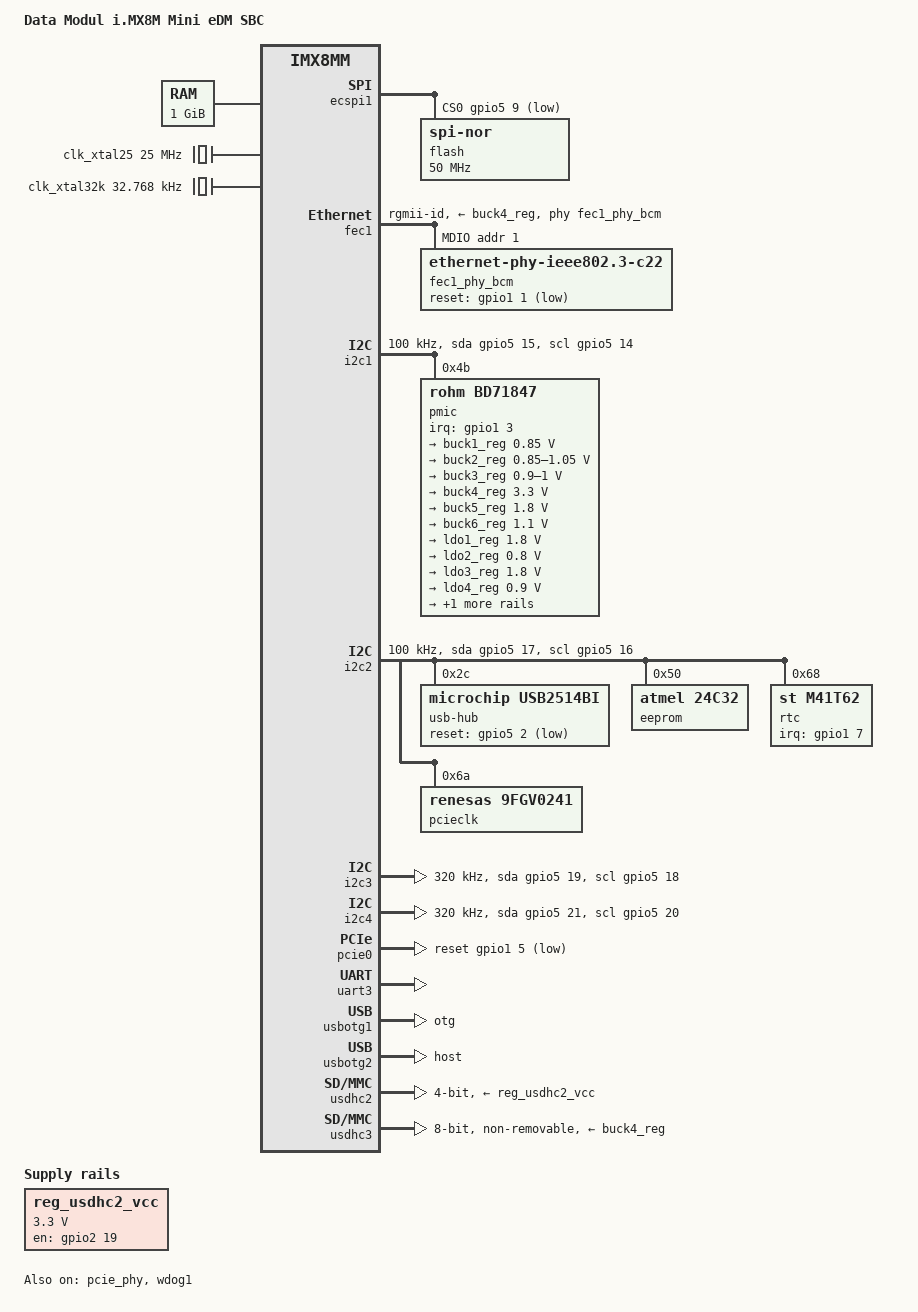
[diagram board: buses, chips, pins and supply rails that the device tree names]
// SPDX-License-Identifier: (GPL-2.0+ OR MIT)
/*
 * Copyright 2022 Marek Vasut <marex@denx.de>
 */

/dts-v1/;

#include <dt-bindings/net/qca-ar803x.h>
#include <dt-bindings/phy/phy-imx8-pcie.h>
#include "imx8mm.dtsi"

/ {
	model = "Data Modul i.MX8M Mini eDM SBC";
	compatible = "dmo,imx8mm-data-modul-edm-sbc", "fsl,imx8mm";

	aliases {
		rtc0 = &rtc;
		rtc1 = &snvs_rtc;
	};

	chosen {
		stdout-path = &uart3;
	};

	memory@40000000 {
		device_type = "memory";
		/* There are 1/2/4 GiB options, adjusted by bootloader. */
		reg = <0x0 0x40000000 0 0x40000000>;
	};

	backlight: backlight {
		compatible = "pwm-backlight";
		pinctrl-names = "default";
		pinctrl-0 = <&pinctrl_panel_backlight>;
		brightness-levels = <0 1 10 20 30 40 50 60 70 75 80 90 100>;
		default-brightness-level = <7>;
		enable-gpios = <&gpio3 0 GPIO_ACTIVE_HIGH>;
		pwms = <&pwm1 0 5000000 0>;
		/* Disabled by default, unless display board plugged in. */
		status = "disabled";
	};

	clk_xtal25: clk-xtal25 {
		compatible = "fixed-clock";
		#clock-cells = <0>;
		clock-frequency = <25000000>;
	};

	clk_xtal32k: clk-xtal32k {
		compatible = "fixed-clock";
		#clock-cells = <0>;
		clock-frequency = <32768>;
	};

	panel: panel {
		backlight = <&backlight>;
		power-supply = <&reg_panel_vcc>;
		/* Disabled by default, unless display board plugged in. */
		status = "disabled";
	};

	reg_panel_vcc: regulator-panel-vcc {
		compatible = "regulator-fixed";
		pinctrl-names = "default";
		pinctrl-0 = <&pinctrl_panel_vcc_reg>;
		regulator-name = "PANEL_VCC";
		regulator-min-microvolt = <5000000>;
		regulator-max-microvolt = <5000000>;
		gpio = <&gpio3 6 0>;
		enable-active-high;
		/* Disabled by default, unless display board plugged in. */
		status = "disabled";
	};

	reg_usdhc2_vcc: regulator-usdhc2-vcc {
		compatible = "regulator-fixed";
		pinctrl-names = "default";
		pinctrl-0 = <&pinctrl_usdhc2_vcc_reg>;
		regulator-name = "V_3V3_SD";
		regulator-min-microvolt = <3300000>;
		regulator-max-microvolt = <3300000>;
		gpio = <&gpio2 19 0>;
		enable-active-high;
	};

	watchdog {
		/* TPS3813 */
		pinctrl-names = "default";
		pinctrl-0 = <&pinctrl_watchdog_gpio>;
		compatible = "linux,wdt-gpio";
		always-running;
		gpios = <&gpio1 8 GPIO_ACTIVE_HIGH>;
		hw_algo = "level";
		/* Reset triggers in 2..3 seconds */
		hw_margin_ms = <1500>;
		/* Disabled by default */
		status = "disabled";
	};
};

&A53_0 {
	cpu-supply = <&buck2_reg>;
};

&A53_1 {
	cpu-supply = <&buck2_reg>;
};

&A53_2 {
	cpu-supply = <&buck2_reg>;
};

&A53_3 {
	cpu-supply = <&buck2_reg>;
};

&ddrc {
	operating-points-v2 = <&ddrc_opp_table>;

	ddrc_opp_table: opp-table {
		compatible = "operating-points-v2";

		opp-25000000 {
			opp-hz = /bits/ 64 <25000000>;
		};

		opp-100000000 {
			opp-hz = /bits/ 64 <100000000>;
		};

		opp-750000000 {
			opp-hz = /bits/ 64 <750000000>;
		};
	};
};

&ecspi1 {
	pinctrl-names = "default";
	pinctrl-0 = <&pinctrl_ecspi1>;
	cs-gpios = <&gpio5 9 GPIO_ACTIVE_LOW>;
	status = "okay";

	flash@0 {	/* W25Q128FVSI */
		compatible = "jedec,spi-nor";
		m25p,fast-read;
		spi-max-frequency = <50000000>;
		reg = <0>;
	};
};

&ecspi2 {	/* Feature connector SPI */
	pinctrl-names = "default";
	pinctrl-0 = <&pinctrl_ecspi2>;
	cs-gpios = <&gpio5 13 GPIO_ACTIVE_LOW>;
	/* Disabled by default, unless feature board plugged in. */
	status = "disabled";
};

&ecspi3 {	/* Display connector SPI */
	pinctrl-names = "default";
	pinctrl-0 = <&pinctrl_ecspi3>;
	cs-gpios = <&gpio5 25 GPIO_ACTIVE_LOW>;
	/* Disabled by default, unless display board plugged in. */
	status = "disabled";
};

&fec1 {
	pinctrl-names = "default";
	pinctrl-0 = <&pinctrl_fec1>;
	phy-mode = "rgmii-id";
	phy-handle = <&fec1_phy_bcm>;
	phy-supply = <&buck4_reg>;
	fsl,magic-packet;
	status = "okay";

	mdio {
		#address-cells = <1>;
		#size-cells = <0>;

		/* Atheros AR8031 PHY */
		fec1_phy_ath: ethernet-phy@0 {
			compatible = "ethernet-phy-ieee802.3-c22";
			reg = <0>;
			/*
			 * Dedicated ENET_WOL# signal is unused, the PHY
			 * can wake the SoC up via INT signal as well.
			 */
			interrupts-extended = <&gpio1 15 IRQ_TYPE_LEVEL_LOW>;
			reset-gpios = <&gpio1 1 GPIO_ACTIVE_LOW>;
			reset-assert-us = <10000>;
			reset-deassert-us = <10000>;
			qca,keep-pll-enabled;
			vddio-supply = <&vddio>;
			status = "disabled";

			vddio: vddio-regulator {
				regulator-name = "VDDIO";
				regulator-min-microvolt = <1800000>;
				regulator-max-microvolt = <1800000>;
			};

			vddh: vddh-regulator {
				regulator-name = "VDDH";
			};
		};

		/* Broadcom BCM54213PE PHY */
		fec1_phy_bcm: ethernet-phy@1 {
			compatible = "ethernet-phy-ieee802.3-c22";
			reg = <1>;
			/*
			 * Dedicated ENET_INT# and ENET_WOL# signals are
			 * unused, the PHY does not provide cable detect
			 * interrupt.
			 */
			reset-gpios = <&gpio1 1 GPIO_ACTIVE_LOW>;
			reset-assert-us = <10000>;
			reset-deassert-us = <10000>;
		};
	};
};

&gpio1 {
	gpio-line-names =
		"", "ENET_RST#", "WDOG_B#", "PMIC_INT#",
		"", "M2-B_PCIE_RST#", "M2-B_PCIE_WAKE#", "RTC_IRQ#",
		"WDOG_KICK#", "M2-B_PCIE_CLKREQ#",
		"USB1_OTG_ID_3V3", "ENET_WOL#",
		"", "", "", "ENET_INT#",
		"", "", "", "", "", "", "", "",
		"", "", "", "", "", "", "", "";
};

&gpio2 {
	gpio-line-names =
		"MEMCFG2", "MEMCFG1", "DSI_RESET_1V8#", "DSI_IRQ_1V8#",
		"M2-B_FULL_CARD_PWROFF_1V8#", "EEPROM_WP_1V8#",
		"PCIE_CLK_GEN_CLKPWRGD_PD_1V8#", "GRAPHICS_PRSNT_1V8#",
		"MEMCFG0", "WDOG_EN",
		"M2-B_W_DISABLE1_WWAN_1V8#", "M2-B_W_DISABLE2_GPS_1V8#",
		"", "", "", "",
		"", "", "", "SD2_RESET#", "", "", "", "",
		"", "", "", "", "", "", "", "";
};

&gpio3 {
	gpio-line-names =
		"BL_ENABLE_1V8", "PG_V_IN_VAR#", "", "",
		"", "", "TFT_ENABLE_1V8", "GRAPHICS_GPIO0_1V8",
		"CSI_PD_1V8", "CSI_RESET_1V8#", "", "",
		"", "", "", "",
		"", "", "", "M2-B_WAKE_WWAN_1V8#",
		"M2-B_RESET_1V8#", "", "", "",
		"", "", "", "", "", "", "", "";
};

&gpio4 {
	gpio-line-names =
		"NC0", "NC1", "BOOTCFG0", "BOOTCFG1",
		"BOOTCFG2", "BOOTCFG3", "BOOTCFG4", "BOOTCFG5",
		"BOOTCFG6", "BOOTCFG7", "NC10", "NC11",
		"BOOTCFG8", "BOOTCFG9", "BOOTCFG10", "BOOTCFG11",
		"BOOTCFG12", "BOOTCFG13", "BOOTCFG14", "BOOTCFG15",
		"NC20", "", "", "",
		"", "CAN_INT#", "CAN_RST#", "GPIO4_IO27",
		"DIS_USB_DN2", "", "", "";
};

&gpio5 {
	gpio-line-names =
		"", "DIS_USB_DN1", "USBHUB_RESET#", "GPIO5_IO03",
		"GPIO5_IO04", "", "", "",
		"", "SPI1_CS#", "", "",
		"", "SPI2_CS#", "I2C1_SCL_3V3", "I2C1_SDA_3V3",
		"I2C2_SCL_3V3", "I2C2_SDA_3V3", "I2C3_SCL_3V3", "I2C3_SDA_3V3",
		"I2C4_SCL_3V3", "I2C4_SDA_3V3", "", "",
		"", "SPI3_CS#", "", "", "", "", "", "";
};

&i2c1 {
	/* IMX8MM ERRATA e7805 -- I2C is limited to 384 kHz due to SoC bug */
	clock-frequency = <100000>;
	pinctrl-names = "default", "gpio";
	pinctrl-0 = <&pinctrl_i2c1>;
	pinctrl-1 = <&pinctrl_i2c1_gpio>;
	scl-gpios = <&gpio5 14 (GPIO_ACTIVE_HIGH | GPIO_OPEN_DRAIN)>;
	sda-gpios = <&gpio5 15 (GPIO_ACTIVE_HIGH | GPIO_OPEN_DRAIN)>;
	status = "okay";

	pmic: pmic@4b {
		compatible = "rohm,bd71847";
		reg = <0x4b>;
		#clock-cells = <0>;
		clocks = <&clk_xtal32k>;
		clock-output-names = "clk-32k-out";
		pinctrl-names = "default";
		pinctrl-0 = <&pinctrl_pmic>;
		interrupt-parent = <&gpio1>;
		interrupts = <3 IRQ_TYPE_EDGE_FALLING>;
		rohm,reset-snvs-powered;

		/*
		 * i.MX 8M Mini Data Sheet for Consumer Products
		 * 3.1.3 Operating ranges
		 * MIMX8MM4DVTLZAA
		 */
		regulators {
			/* VDD_SOC */
			buck1_reg: BUCK1 {
				regulator-name = "buck1";
				regulator-min-microvolt = <850000>;
				regulator-max-microvolt = <850000>;
				regulator-boot-on;
				regulator-always-on;
				regulator-ramp-delay = <1250>;
			};

			/* VDD_ARM */
			buck2_reg: BUCK2 {
				regulator-name = "buck2";
				regulator-min-microvolt = <850000>;
				regulator-max-microvolt = <1050000>;
				regulator-boot-on;
				regulator-always-on;
				regulator-ramp-delay = <1250>;
				rohm,dvs-run-voltage = <1000000>;
				rohm,dvs-idle-voltage = <950000>;
			};

			/* VDD_DRAM, BUCK5 */
			buck3_reg: BUCK3 {
				regulator-name = "buck3";
				/* 1.5 GHz DDR bus clock */
				regulator-min-microvolt = <900000>;
				regulator-max-microvolt = <1000000>;
				regulator-boot-on;
				regulator-always-on;
			};

			/* 3V3_VDD, BUCK6 */
			buck4_reg: BUCK4 {
				regulator-name = "buck4";
				regulator-min-microvolt = <3300000>;
				regulator-max-microvolt = <3300000>;
				regulator-boot-on;
				regulator-always-on;
			};

			/* 1V8_VDD, BUCK7 */
			buck5_reg: BUCK5 {
				regulator-name = "buck5";
				regulator-min-microvolt = <1800000>;
				regulator-max-microvolt = <1800000>;
				regulator-boot-on;
				regulator-always-on;
			};

			/* 1V1_NVCC_DRAM, BUCK8 */
			buck6_reg: BUCK6 {
				regulator-name = "buck6";
				regulator-min-microvolt = <1100000>;
				regulator-max-microvolt = <1100000>;
				regulator-boot-on;
				regulator-always-on;
			};

			/* 1V8_NVCC_SNVS */
			ldo1_reg: LDO1 {
				regulator-name = "ldo1";
				regulator-min-microvolt = <1800000>;
				regulator-max-microvolt = <1800000>;
				regulator-boot-on;
				regulator-always-on;
			};

			/* 0V8_VDD_SNVS */
			ldo2_reg: LDO2 {
				regulator-name = "ldo2";
				regulator-min-microvolt = <800000>;
				regulator-max-microvolt = <800000>;
				regulator-boot-on;
				regulator-always-on;
			};

			/* 1V8_VDDA */
			ldo3_reg: LDO3 {
				regulator-name = "ldo3";
				regulator-min-microvolt = <1800000>;
				regulator-max-microvolt = <1800000>;
				regulator-boot-on;
				regulator-always-on;
			};

			/* 0V9_VDD_PHY */
			ldo4_reg: LDO4 {
				regulator-name = "ldo4";
				regulator-min-microvolt = <900000>;
				regulator-max-microvolt = <900000>;
				regulator-boot-on;
				regulator-always-on;
			};

			/* 1V2_VDD_PHY */
			ldo6_reg: LDO6 {
				regulator-name = "ldo6";
				regulator-min-microvolt = <1200000>;
				regulator-max-microvolt = <1200000>;
				regulator-boot-on;
				regulator-always-on;
			};
		};
	};
};

&i2c2 {
	/* IMX8MM ERRATA e7805 -- I2C is limited to 384 kHz due to SoC bug */
	clock-frequency = <100000>;
	pinctrl-names = "default", "gpio";
	pinctrl-0 = <&pinctrl_i2c2>;
	pinctrl-1 = <&pinctrl_i2c2_gpio>;
	scl-gpios = <&gpio5 16 (GPIO_ACTIVE_HIGH | GPIO_OPEN_DRAIN)>;
	sda-gpios = <&gpio5 17 (GPIO_ACTIVE_HIGH | GPIO_OPEN_DRAIN)>;
	status = "okay";

	usb-hub@2c {
		pinctrl-names = "default";
		pinctrl-0 = <&pinctrl_usb_hub>;
		compatible = "microchip,usb2514bi";
		reg = <0x2c>;
		individual-port-switching;
		reset-gpios = <&gpio5 2 GPIO_ACTIVE_LOW>;
		self-powered;
	};

	eeprom: eeprom@50 {
		compatible = "atmel,24c32";
		reg = <0x50>;
		pagesize = <32>;
	};

	rtc: rtc@68 {
		pinctrl-names = "default";
		pinctrl-0 = <&pinctrl_rtc>;
		compatible = "st,m41t62";
		reg = <0x68>;
		interrupts-extended = <&gpio1 7 IRQ_TYPE_LEVEL_LOW>;
	};

	pcieclk: clk@6a {
		compatible = "renesas,9fgv0241";
		reg = <0x6a>;
		clocks = <&clk_xtal25>;
		#clock-cells = <1>;
	};
};

&i2c3 {	/* Display connector I2C */
	/* IMX8MM ERRATA e7805 -- I2C is limited to 384 kHz due to SoC bug */
	clock-frequency = <320000>;
	pinctrl-names = "default", "gpio";
	pinctrl-0 = <&pinctrl_i2c3>;
	pinctrl-1 = <&pinctrl_i2c3_gpio>;
	scl-gpios = <&gpio5 18 (GPIO_ACTIVE_HIGH | GPIO_OPEN_DRAIN)>;
	sda-gpios = <&gpio5 19 (GPIO_ACTIVE_HIGH | GPIO_OPEN_DRAIN)>;
	status = "okay";
};

&i2c4 {	/* Feature connector I2C */
	/* IMX8MM ERRATA e7805 -- I2C is limited to 384 kHz due to SoC bug */
	clock-frequency = <320000>;
	pinctrl-names = "default", "gpio";
	pinctrl-0 = <&pinctrl_i2c4>;
	pinctrl-1 = <&pinctrl_i2c4_gpio>;
	scl-gpios = <&gpio5 20 (GPIO_ACTIVE_HIGH | GPIO_OPEN_DRAIN)>;
	sda-gpios = <&gpio5 21 (GPIO_ACTIVE_HIGH | GPIO_OPEN_DRAIN)>;
	status = "okay";
};

&iomuxc {
	pinctrl-names = "default";
	pinctrl-0 = <&pinctrl_hog_feature>, <&pinctrl_hog_misc>,
		    <&pinctrl_hog_panel>, <&pinctrl_hog_sbc>,
		    <&pinctrl_panel_expansion>;

	pinctrl_ecspi1: ecspi1-grp {
		fsl,pins = <
			MX8MM_IOMUXC_ECSPI1_SCLK_ECSPI1_SCLK		0x44
			MX8MM_IOMUXC_ECSPI1_MOSI_ECSPI1_MOSI		0x44
			MX8MM_IOMUXC_ECSPI1_MISO_ECSPI1_MISO		0x44
			MX8MM_IOMUXC_ECSPI1_SS0_GPIO5_IO9		0x40
		>;
	};

	pinctrl_ecspi2: ecspi2-grp {
		fsl,pins = <
			MX8MM_IOMUXC_ECSPI2_SCLK_ECSPI2_SCLK		0x44
			MX8MM_IOMUXC_ECSPI2_MOSI_ECSPI2_MOSI		0x44
			MX8MM_IOMUXC_ECSPI2_MISO_ECSPI2_MISO		0x44
			MX8MM_IOMUXC_ECSPI2_SS0_GPIO5_IO13		0x40
		>;
	};

	pinctrl_ecspi3: ecspi3-grp {
		fsl,pins = <
			MX8MM_IOMUXC_UART1_RXD_ECSPI3_SCLK		0x44
			MX8MM_IOMUXC_UART1_TXD_ECSPI3_MOSI		0x44
			MX8MM_IOMUXC_UART2_RXD_ECSPI3_MISO		0x44
			MX8MM_IOMUXC_UART2_TXD_GPIO5_IO25		0x40
		>;
	};

	pinctrl_fec1: fec1-grp {
		fsl,pins = <
			MX8MM_IOMUXC_ENET_MDC_ENET1_MDC			0x3
			MX8MM_IOMUXC_ENET_MDIO_ENET1_MDIO		0x3
			MX8MM_IOMUXC_ENET_RD0_ENET1_RGMII_RD0		0x91
			MX8MM_IOMUXC_ENET_RD1_ENET1_RGMII_RD1		0x91
			MX8MM_IOMUXC_ENET_RD2_ENET1_RGMII_RD2		0x91
			MX8MM_IOMUXC_ENET_RD3_ENET1_RGMII_RD3		0x91
			MX8MM_IOMUXC_ENET_RXC_ENET1_RGMII_RXC		0x91
			MX8MM_IOMUXC_ENET_RX_CTL_ENET1_RGMII_RX_CTL	0x91
			MX8MM_IOMUXC_ENET_TD0_ENET1_RGMII_TD0		0x1f
			MX8MM_IOMUXC_ENET_TD1_ENET1_RGMII_TD1		0x1f
			MX8MM_IOMUXC_ENET_TD2_ENET1_RGMII_TD2		0x1f
			MX8MM_IOMUXC_ENET_TD3_ENET1_RGMII_TD3		0x1f
			MX8MM_IOMUXC_ENET_TXC_ENET1_RGMII_TXC		0x1f
			MX8MM_IOMUXC_ENET_TX_CTL_ENET1_RGMII_TX_CTL	0x1f
			/* ENET_RST# */
			MX8MM_IOMUXC_GPIO1_IO01_GPIO1_IO1		0x6
			/* ENET_WOL# */
			MX8MM_IOMUXC_GPIO1_IO11_GPIO1_IO11		0x40000090
			/* ENET_INT# */
			MX8MM_IOMUXC_GPIO1_IO15_GPIO1_IO15		0x40000090
		>;
	};

	pinctrl_hog_feature: hog-feature-grp {
		fsl,pins = <
			/* GPIO4_IO27 */
			MX8MM_IOMUXC_SAI2_MCLK_GPIO4_IO27		0x40000006
			/* GPIO5_IO03 */
			MX8MM_IOMUXC_SPDIF_TX_GPIO5_IO3			0x40000006
			/* GPIO5_IO04 */
			MX8MM_IOMUXC_SPDIF_RX_GPIO5_IO4			0x40000006

			/* CAN_INT# */
			MX8MM_IOMUXC_SAI2_TXC_GPIO4_IO25		0x40000090
			/* CAN_RST# */
			MX8MM_IOMUXC_SAI2_TXD0_GPIO4_IO26		0x26
		>;
	};

	pinctrl_hog_panel: hog-panel-grp {
		fsl,pins = <
			/* GRAPHICS_GPIO0_1V8 */
			MX8MM_IOMUXC_NAND_DATA01_GPIO3_IO7		0x26
		>;
	};

	pinctrl_hog_misc: hog-misc-grp {
		fsl,pins = <
			/* PG_V_IN_VAR# */
			MX8MM_IOMUXC_NAND_CE0_B_GPIO3_IO1		0x40000000
			/* CSI_PD_1V8 */
			MX8MM_IOMUXC_NAND_DATA02_GPIO3_IO8		0x0
			/* CSI_RESET_1V8# */
			MX8MM_IOMUXC_NAND_DATA03_GPIO3_IO9		0x0

			/* DIS_USB_DN1 */
			MX8MM_IOMUXC_SAI3_TXD_GPIO5_IO1			0x0
			/* DIS_USB_DN2 */
			MX8MM_IOMUXC_SAI3_RXFS_GPIO4_IO28		0x0

			/* EEPROM_WP_1V8# */
			MX8MM_IOMUXC_SD1_DATA3_GPIO2_IO5		0x100
			/* PCIE_CLK_GEN_CLKPWRGD_PD_1V8# */
			MX8MM_IOMUXC_SD1_DATA4_GPIO2_IO6		0x0
			/* GRAPHICS_PRSNT_1V8# */
			MX8MM_IOMUXC_SD1_DATA5_GPIO2_IO7		0x40000000

			/* CLK_CCM_CLKO1_3V3 */
			MX8MM_IOMUXC_GPIO1_IO14_CCMSRCGPCMIX_CLKO1	0x10
		>;
	};

	pinctrl_hog_sbc: hog-sbc-grp {
		fsl,pins = <
			/* MEMCFG[0..2] straps */
			MX8MM_IOMUXC_SD1_DATA6_GPIO2_IO8		0x40000140
			MX8MM_IOMUXC_SD1_CMD_GPIO2_IO1			0x40000140
			MX8MM_IOMUXC_SD1_CLK_GPIO2_IO0			0x40000140

			/* BOOT_CFG[0..15] straps */
			MX8MM_IOMUXC_SAI1_RXD0_GPIO4_IO2		0x40000000
			MX8MM_IOMUXC_SAI1_RXD1_GPIO4_IO3		0x40000000
			MX8MM_IOMUXC_SAI1_RXD2_GPIO4_IO4		0x40000000
			MX8MM_IOMUXC_SAI1_RXD3_GPIO4_IO5		0x40000000
			MX8MM_IOMUXC_SAI1_RXD4_GPIO4_IO6		0x40000000
			MX8MM_IOMUXC_SAI1_RXD5_GPIO4_IO7		0x40000000
			MX8MM_IOMUXC_SAI1_RXD6_GPIO4_IO8		0x40000000
			MX8MM_IOMUXC_SAI1_RXD7_GPIO4_IO9		0x40000000
			MX8MM_IOMUXC_SAI1_TXD0_GPIO4_IO12		0x40000000
			MX8MM_IOMUXC_SAI1_TXD1_GPIO4_IO13		0x40000000
			MX8MM_IOMUXC_SAI1_TXD2_GPIO4_IO14		0x40000000
			MX8MM_IOMUXC_SAI1_TXD3_GPIO4_IO15		0x40000000
			MX8MM_IOMUXC_SAI1_TXD4_GPIO4_IO16		0x40000000
			MX8MM_IOMUXC_SAI1_TXD5_GPIO4_IO17		0x40000000
			MX8MM_IOMUXC_SAI1_TXD6_GPIO4_IO18		0x40000000
			MX8MM_IOMUXC_SAI1_TXD7_GPIO4_IO19		0x40000000

			/* Not connected pins */
			MX8MM_IOMUXC_SAI1_MCLK_GPIO4_IO20		0x0
			MX8MM_IOMUXC_SAI1_TXFS_GPIO4_IO10		0x0
			MX8MM_IOMUXC_SAI1_TXC_GPIO4_IO11		0x0
			MX8MM_IOMUXC_SAI1_RXFS_GPIO4_IO0		0x0
			MX8MM_IOMUXC_SAI1_RXC_GPIO4_IO1			0x0
		>;
	};

	pinctrl_i2c1: i2c1-grp {
		fsl,pins = <
			MX8MM_IOMUXC_I2C1_SCL_I2C1_SCL			0x40000084
			MX8MM_IOMUXC_I2C1_SDA_I2C1_SDA			0x40000084
		>;
	};

	pinctrl_i2c1_gpio: i2c1-gpio-grp {
		fsl,pins = <
			MX8MM_IOMUXC_I2C1_SCL_GPIO5_IO14		0x84
			MX8MM_IOMUXC_I2C1_SDA_GPIO5_IO15		0x84
		>;
	};

	pinctrl_i2c2: i2c2-grp {
		fsl,pins = <
			MX8MM_IOMUXC_I2C2_SCL_I2C2_SCL			0x40000084
			MX8MM_IOMUXC_I2C2_SDA_I2C2_SDA			0x40000084
		>;
	};

	pinctrl_i2c2_gpio: i2c2-gpio-grp {
		fsl,pins = <
			MX8MM_IOMUXC_I2C2_SCL_GPIO5_IO16		0x84
			MX8MM_IOMUXC_I2C2_SDA_GPIO5_IO17		0x84
		>;
	};

	pinctrl_i2c3: i2c3-grp {
		fsl,pins = <
			MX8MM_IOMUXC_I2C3_SCL_I2C3_SCL			0x40000084
			MX8MM_IOMUXC_I2C3_SDA_I2C3_SDA			0x40000084
		>;
	};

	pinctrl_i2c3_gpio: i2c3-gpio-grp {
		fsl,pins = <
			MX8MM_IOMUXC_I2C3_SCL_GPIO5_IO18		0x84
			MX8MM_IOMUXC_I2C3_SDA_GPIO5_IO19		0x84
		>;
	};

	pinctrl_i2c4: i2c4-grp {
		fsl,pins = <
			MX8MM_IOMUXC_I2C4_SCL_I2C4_SCL			0x40000084
			MX8MM_IOMUXC_I2C4_SDA_I2C4_SDA			0x40000084
		>;
	};

	pinctrl_i2c4_gpio: i2c4-gpio-grp {
		fsl,pins = <
			MX8MM_IOMUXC_I2C4_SCL_GPIO5_IO20		0x84
			MX8MM_IOMUXC_I2C4_SDA_GPIO5_IO21		0x84
		>;
	};

	pinctrl_panel_backlight: panel-backlight-grp {
		fsl,pins = <
			/* BL_ENABLE_1V8 */
			MX8MM_IOMUXC_NAND_ALE_GPIO3_IO0			0x104
		>;
	};

	pinctrl_panel_expansion: panel-expansion-grp {
		fsl,pins = <
			/* DSI_RESET_1V8# */
			MX8MM_IOMUXC_SD1_DATA0_GPIO2_IO2		0x2
			/* DSI_IRQ_1V8# */
			MX8MM_IOMUXC_SD1_DATA1_GPIO2_IO3		0x40000090
		>;
	};

	pinctrl_panel_vcc_reg: panel-vcc-grp {
		fsl,pins = <
			/* TFT_ENABLE_1V8 */
			MX8MM_IOMUXC_NAND_DATA00_GPIO3_IO6		0x104
		>;
	};

	pinctrl_panel_pwm: panel-pwm-grp {
		fsl,pins = <
			/* BL_PWM_3V3 */
			MX8MM_IOMUXC_SPDIF_EXT_CLK_PWM1_OUT		0x12
		>;
	};

	pinctrl_pcie0: pcie-grp {
		fsl,pins = <
			/* M2-B_RESET_1V8# */
			MX8MM_IOMUXC_SAI5_RXC_GPIO3_IO20		0x102
			/* M2-B_PCIE_RST# */
			MX8MM_IOMUXC_GPIO1_IO05_GPIO1_IO5		0x2
			/* M2-B_FULL_CARD_PWROFF_1V8# */
			MX8MM_IOMUXC_SD1_DATA2_GPIO2_IO4		0x102
			/* M2-B_W_DISABLE1_WWAN_1V8# */
			MX8MM_IOMUXC_SD1_RESET_B_GPIO2_IO10		0x102
			/* M2-B_W_DISABLE2_GPS_1V8# */
			MX8MM_IOMUXC_SD1_STROBE_GPIO2_IO11		0x102
			/* CLK_M2_32K768 */
			MX8MM_IOMUXC_GPIO1_IO00_ANAMIX_REF_CLK_32K	0x14
			/* M2-B_WAKE_WWAN_1V8# */
			MX8MM_IOMUXC_SAI5_RXFS_GPIO3_IO19		0x40000140
			/* M2-B_PCIE_WAKE# */
			MX8MM_IOMUXC_GPIO1_IO06_GPIO1_IO6		0x40000140
			/* M2-B_PCIE_CLKREQ# */
			MX8MM_IOMUXC_GPIO1_IO09_GPIO1_IO9		0x40000140
		>;
	};

	pinctrl_pmic: pmic-grp {
		fsl,pins = <
			MX8MM_IOMUXC_GPIO1_IO03_GPIO1_IO3		0x40000090
		>;
	};

	pinctrl_rtc: rtc-grp {
		fsl,pins = <
			/* RTC_IRQ# */
			MX8MM_IOMUXC_GPIO1_IO07_GPIO1_IO7		0x40000090
		>;
	};

	pinctrl_sai5: sai5-grp {
		fsl,pins = <
			MX8MM_IOMUXC_SAI5_MCLK_SAI5_MCLK		0x100
			MX8MM_IOMUXC_SAI5_RXD0_SAI5_RX_DATA0		0x0
			MX8MM_IOMUXC_SAI5_RXD1_SAI5_TX_SYNC		0x100
			MX8MM_IOMUXC_SAI5_RXD2_SAI5_TX_BCLK		0x100
			MX8MM_IOMUXC_SAI5_RXD3_SAI5_TX_DATA0		0x100
		>;
	};

	pinctrl_uart1: uart1-grp {
		fsl,pins = <
			MX8MM_IOMUXC_SAI2_RXC_UART1_DCE_RX		0x90
			MX8MM_IOMUXC_SAI2_RXD0_UART1_DCE_RTS_B		0x90
			MX8MM_IOMUXC_SAI2_RXFS_UART1_DCE_TX		0x50
			MX8MM_IOMUXC_SAI2_TXFS_UART1_DCE_CTS_B		0x50
		>;
	};

	pinctrl_uart2: uart2-grp {
		fsl,pins = <
			MX8MM_IOMUXC_SAI3_RXC_UART2_DCE_CTS_B		0x50
			MX8MM_IOMUXC_SAI3_RXD_UART2_DCE_RTS_B		0x90
			MX8MM_IOMUXC_SAI3_TXC_UART2_DCE_TX		0x50
			MX8MM_IOMUXC_SAI3_TXFS_UART2_DCE_RX		0x90
		>;
	};

	pinctrl_uart3: uart3-grp {
		fsl,pins = <
			MX8MM_IOMUXC_UART3_RXD_UART3_DCE_RX		0x40
			MX8MM_IOMUXC_UART3_TXD_UART3_DCE_TX		0x40
		>;
	};

	pinctrl_uart4: uart4-grp {
		fsl,pins = <
			MX8MM_IOMUXC_UART4_RXD_UART4_DCE_RX		0x40
			MX8MM_IOMUXC_UART4_TXD_UART4_DCE_TX		0x40
		>;
	};

	pinctrl_usb_hub: usb-hub-grp {
		fsl,pins = <
			/* USBHUB_RESET# */
			MX8MM_IOMUXC_SAI3_MCLK_GPIO5_IO2		0x4
		>;
	};

	pinctrl_usb_otg1: usb-otg1-grp {
		fsl,pins = <
			MX8MM_IOMUXC_GPIO1_IO10_GPIO1_IO10		0x40000000
			MX8MM_IOMUXC_GPIO1_IO12_USB1_OTG_PWR		0x4
			MX8MM_IOMUXC_GPIO1_IO13_USB1_OTG_OC		0x40000090
		>;
	};

	pinctrl_usdhc2_vcc_reg: usdhc2-vcc-reg-grp {
		fsl,pins = <
			MX8MM_IOMUXC_SD2_RESET_B_GPIO2_IO19		0x4
		>;
	};

	pinctrl_usdhc2: usdhc2-grp {
		fsl,pins = <
			MX8MM_IOMUXC_SD2_CLK_USDHC2_CLK			0x190
			MX8MM_IOMUXC_SD2_CMD_USDHC2_CMD			0x1d0
			MX8MM_IOMUXC_SD2_DATA0_USDHC2_DATA0		0x1d0
			MX8MM_IOMUXC_SD2_DATA1_USDHC2_DATA1		0x1d0
			MX8MM_IOMUXC_SD2_DATA2_USDHC2_DATA2		0x1d0
			MX8MM_IOMUXC_SD2_DATA3_USDHC2_DATA3		0x1d0
			MX8MM_IOMUXC_SD2_WP_USDHC2_WP			0x400000d6
			MX8MM_IOMUXC_SD2_CD_B_USDHC2_CD_B		0x0d6
			MX8MM_IOMUXC_GPIO1_IO04_USDHC2_VSELECT		0x1d0
		>;
	};

	pinctrl_usdhc2_100mhz: usdhc2-100mhz-grp {
		fsl,pins = <
			MX8MM_IOMUXC_SD2_CLK_USDHC2_CLK			0x194
			MX8MM_IOMUXC_SD2_CMD_USDHC2_CMD			0x1d4
			MX8MM_IOMUXC_SD2_DATA0_USDHC2_DATA0		0x1d4
			MX8MM_IOMUXC_SD2_DATA1_USDHC2_DATA1		0x1d4
			MX8MM_IOMUXC_SD2_DATA2_USDHC2_DATA2		0x1d4
			MX8MM_IOMUXC_SD2_DATA3_USDHC2_DATA3		0x1d4
			MX8MM_IOMUXC_SD2_WP_USDHC2_WP			0x400000d6
			MX8MM_IOMUXC_SD2_CD_B_USDHC2_CD_B		0x0d6
			MX8MM_IOMUXC_GPIO1_IO04_USDHC2_VSELECT		0x1d0
		>;
	};

	pinctrl_usdhc2_200mhz: usdhc2-200mhz-grp {
		fsl,pins = <
			MX8MM_IOMUXC_SD2_CLK_USDHC2_CLK			0x196
			MX8MM_IOMUXC_SD2_CMD_USDHC2_CMD			0x1d6
			MX8MM_IOMUXC_SD2_DATA0_USDHC2_DATA0		0x1d6
			MX8MM_IOMUXC_SD2_DATA1_USDHC2_DATA1		0x1d6
			MX8MM_IOMUXC_SD2_DATA2_USDHC2_DATA2		0x1d6
			MX8MM_IOMUXC_SD2_DATA3_USDHC2_DATA3		0x1d6
			MX8MM_IOMUXC_SD2_WP_USDHC2_WP			0x400000d6
			MX8MM_IOMUXC_SD2_CD_B_USDHC2_CD_B		0x0d6
			MX8MM_IOMUXC_GPIO1_IO04_USDHC2_VSELECT		0x1d0
		>;
	};

	pinctrl_usdhc3: usdhc3-grp {
		fsl,pins = <
			MX8MM_IOMUXC_NAND_WE_B_USDHC3_CLK		0x190
			MX8MM_IOMUXC_NAND_WP_B_USDHC3_CMD		0x1d0
			MX8MM_IOMUXC_NAND_DATA04_USDHC3_DATA0		0x1d0
			MX8MM_IOMUXC_NAND_DATA05_USDHC3_DATA1		0x1d0
			MX8MM_IOMUXC_NAND_DATA06_USDHC3_DATA2		0x1d0
			MX8MM_IOMUXC_NAND_DATA07_USDHC3_DATA3		0x1d0
			MX8MM_IOMUXC_NAND_RE_B_USDHC3_DATA4		0x1d0
			MX8MM_IOMUXC_NAND_CE2_B_USDHC3_DATA5		0x1d0
			MX8MM_IOMUXC_NAND_CE3_B_USDHC3_DATA6		0x1d0
			MX8MM_IOMUXC_NAND_CLE_USDHC3_DATA7		0x1d0
			MX8MM_IOMUXC_NAND_CE1_B_USDHC3_STROBE		0x190
			MX8MM_IOMUXC_NAND_READY_B_SD3_RESET_B		0x40
		>;
	};

	pinctrl_usdhc3_100mhz: usdhc3-100mhz-grp {
		fsl,pins = <
			MX8MM_IOMUXC_NAND_WE_B_USDHC3_CLK		0x194
			MX8MM_IOMUXC_NAND_WP_B_USDHC3_CMD		0x1d4
			MX8MM_IOMUXC_NAND_DATA04_USDHC3_DATA0		0x1d4
			MX8MM_IOMUXC_NAND_DATA05_USDHC3_DATA1		0x1d4
			MX8MM_IOMUXC_NAND_DATA06_USDHC3_DATA2		0x1d4
			MX8MM_IOMUXC_NAND_DATA07_USDHC3_DATA3		0x1d4
			MX8MM_IOMUXC_NAND_RE_B_USDHC3_DATA4		0x1d4
			MX8MM_IOMUXC_NAND_CE2_B_USDHC3_DATA5		0x1d4
			MX8MM_IOMUXC_NAND_CE3_B_USDHC3_DATA6		0x1d4
			MX8MM_IOMUXC_NAND_CLE_USDHC3_DATA7		0x1d4
			MX8MM_IOMUXC_NAND_CE1_B_USDHC3_STROBE		0x194
			MX8MM_IOMUXC_NAND_READY_B_SD3_RESET_B		0x40
		>;
	};

	pinctrl_usdhc3_200mhz: usdhc3-200mhz-grp {
		fsl,pins = <
			MX8MM_IOMUXC_NAND_WE_B_USDHC3_CLK		0x196
			MX8MM_IOMUXC_NAND_WP_B_USDHC3_CMD		0x1d6
			MX8MM_IOMUXC_NAND_DATA04_USDHC3_DATA0		0x1d6
			MX8MM_IOMUXC_NAND_DATA05_USDHC3_DATA1		0x1d6
			MX8MM_IOMUXC_NAND_DATA06_USDHC3_DATA2		0x1d6
			MX8MM_IOMUXC_NAND_DATA07_USDHC3_DATA3		0x1d6
			MX8MM_IOMUXC_NAND_RE_B_USDHC3_DATA4		0x1d6
			MX8MM_IOMUXC_NAND_CE2_B_USDHC3_DATA5		0x1d6
			MX8MM_IOMUXC_NAND_CE3_B_USDHC3_DATA6		0x1d6
			MX8MM_IOMUXC_NAND_CLE_USDHC3_DATA7		0x1d6
			MX8MM_IOMUXC_NAND_CE1_B_USDHC3_STROBE		0x196
			MX8MM_IOMUXC_NAND_READY_B_SD3_RESET_B		0x40
		>;
	};

	pinctrl_watchdog_gpio: watchdog-gpio-grp {
		fsl,pins = <
			/* WDOG_B# */
			MX8MM_IOMUXC_GPIO1_IO02_GPIO1_IO2		0x26
			/* WDOG_EN -- ungate WDT RESET# signal propagation */
			MX8MM_IOMUXC_SD1_DATA7_GPIO2_IO9		0x6
			/* WDOG_KICK# / WDI */
			MX8MM_IOMUXC_GPIO1_IO08_GPIO1_IO8		0x26
		>;
	};
};

&pcie_phy {
	fsl,clkreq-unsupported;	/* CLKREQ_B is not connected to suitable input */
	fsl,refclk-pad-mode = <IMX8_PCIE_REFCLK_PAD_INPUT>;
	fsl,tx-deemph-gen1 = <0x2d>;
	fsl,tx-deemph-gen2 = <0xf>;
	clocks = <&pcieclk 0>;
	status = "okay";
};

&pcie0 {
	pinctrl-names = "default";
	pinctrl-0 = <&pinctrl_pcie0>;
	reset-gpio = <&gpio1 5 GPIO_ACTIVE_LOW>;
	clocks = <&clk IMX8MM_CLK_PCIE1_ROOT>, <&pcieclk 0>,
		 <&clk IMX8MM_CLK_PCIE1_AUX>;
	assigned-clocks = <&clk IMX8MM_CLK_PCIE1_AUX>,
			  <&clk IMX8MM_CLK_PCIE1_CTRL>;
	assigned-clock-rates = <10000000>, <250000000>;
	assigned-clock-parents = <&clk IMX8MM_SYS_PLL2_50M>,
				 <&clk IMX8MM_SYS_PLL2_250M>;
	status = "okay";
};

&pwm1 {
	pinctrl-names = "default";
	pinctrl-0 = <&pinctrl_panel_pwm>;
	/* Disabled by default, unless display board plugged in. */
	status = "disabled";
};

&sai5 {
	pinctrl-names = "default";
	pinctrl-0 = <&pinctrl_sai5>;
	fsl,sai-mclk-direction-output;
	/* Input into codec PLL */
	assigned-clocks = <&clk IMX8MM_CLK_SAI5>;
	assigned-clock-parents = <&clk IMX8MM_AUDIO_PLL2_OUT>;
	assigned-clock-rates = <22579200>;
	/* Disabled by default, unless display board plugged in. */
	status = "disabled";
};

&snvs_rtc {
	clocks = <&pmic>;
};

&uart1 {
	pinctrl-names = "default";
	pinctrl-0 = <&pinctrl_uart1>;
	uart-has-rtscts;
	status = "disabled";
};

&uart2 {
	pinctrl-names = "default";
	pinctrl-0 = <&pinctrl_uart2>;
	status = "disabled";
};

&uart3 {	/* A53 Debug */
	pinctrl-names = "default";
	pinctrl-0 = <&pinctrl_uart3>;
	status = "okay";
};

&uart4 {	/* M4 Debug */
	pinctrl-names = "default";
	pinctrl-0 = <&pinctrl_uart4>;
	/* UART4 is reserved for CM and RDC blocks CA access to UART4. */
	status = "disabled";
};

&usbotg1 {
	pinctrl-names = "default";
	pinctrl-0 = <&pinctrl_usb_otg1>;
	dr_mode = "otg";
	status = "okay";
};

&usbotg2 {
	disable-over-current;
	dr_mode = "host";
	status = "okay";
};

&usdhc2 {	/* MicroSD */
	assigned-clocks = <&clk IMX8MM_CLK_USDHC2_ROOT>;
	pinctrl-names = "default", "state_100mhz", "state_200mhz";
	pinctrl-0 = <&pinctrl_usdhc2>;
	pinctrl-1 = <&pinctrl_usdhc2_100mhz>;
	pinctrl-2 = <&pinctrl_usdhc2_200mhz>;
	bus-width = <4>;
	vmmc-supply = <&reg_usdhc2_vcc>;
	status = "okay";
};

&usdhc3 {	/* eMMC */
	assigned-clocks = <&clk IMX8MM_CLK_USDHC3_ROOT>;
	assigned-clock-rates = <400000000>;
	pinctrl-names = "default", "state_100mhz", "state_200mhz";
	pinctrl-0 = <&pinctrl_usdhc3>;
	pinctrl-1 = <&pinctrl_usdhc3_100mhz>;
	pinctrl-2 = <&pinctrl_usdhc3_200mhz>;
	bus-width = <8>;
	non-removable;
	vmmc-supply = <&buck4_reg>;
	vqmmc-supply = <&buck5_reg>;
	status = "okay";
};

&wdog1 {
	status = "okay";
};
